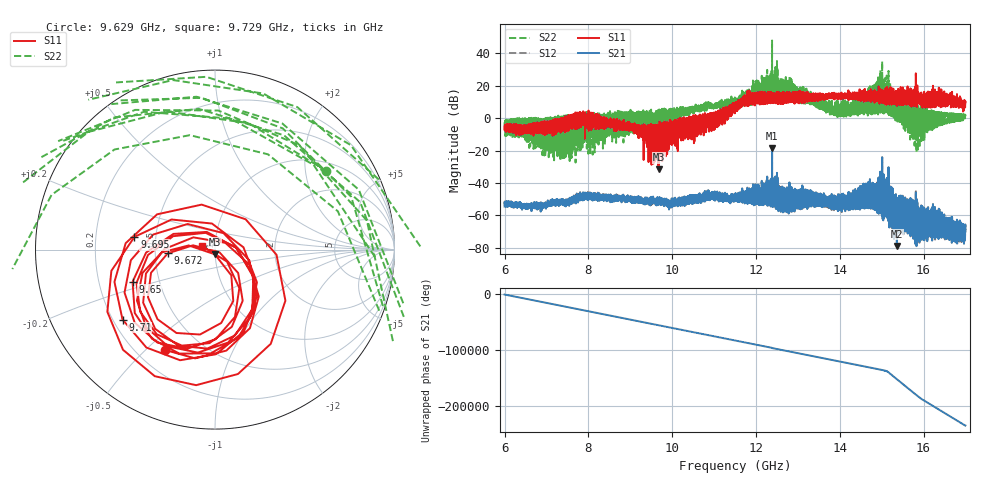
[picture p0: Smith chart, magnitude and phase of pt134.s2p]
#  HZ  S  RI  R  50.00
! Rohde & Schwarz Vector Network Analyzer
! Rohde-Schwarz,ZNA67-2Port,1332450062101215,3.01
! Created: UTC 10/19/2026, 5:56:29 PM
! freq[Hz]  re:S11  im:S11  re:S21  im:S21  re:S12  im:S12  re:S22  im:S22
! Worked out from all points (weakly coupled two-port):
!   11001 points, 6 GHz to 17 GHz, reference 50 ohm
!   highest |S21| = -18.35 dB at 12.38 GHz (marker M1); lowest = -78.8 dB at 15.37 GHz (marker M2)
!   lowest |S11| = -31.7 dB at 9.681 GHz (marker M3), VSWR 1.05, Z = 49.8 - j2.6 ohm
!   |S11| at or under -10 dB: 9.3866 GHz to 9.391355 GHz (4.756 MHz wide, 0.0507 % of centre); 9.398538 GHz to 9.403064 GHz (4.526 MHz wide, 0.0481 % of centre); 9.678869 GHz to 9.683175 GHz (4.306 MHz wide, 0.0445 % of centre) (the widest 3 of 118)
!   |S22| runs from -27.4 to 47.9 dB; largest |S21 - S12| = 0.0034
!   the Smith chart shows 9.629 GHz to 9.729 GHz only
!   S11 on the Smith chart (normalised r, x): 9.629 GHz: 0.31, -0.57; 9.65 GHz: 0.35, -0.17; 9.672 GHz: 0.58, -0.03; 9.695 GHz: 0.38, +0.07; 9.71 GHz: 0.24, -0.32; 9.729 GHz: 0.87, +0.03
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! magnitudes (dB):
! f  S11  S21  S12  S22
! 6 GHz  -5.3  -54.6  -54.1  -2.5
! 6.913 GHz  -8.4  -53.0  -53.0  -22.1
! 7.834 GHz  -3.9  -50.6  -50.4  -14.2
! 9.629 GHz  -4.1  -53.1  -53.2  -2.4
! 9.65 GHz  -6.1  -50.2  -50.3  2.9
! 9.667 GHz  -7.1  -53.1  -53.3  -2.0
! 9.672 GHz  -11.6  -50.0  -50.2  2.8
! 9.681 GHz  -31.7  -51.3  -51.5  3.7
! 9.695 GHz  -6.9  -50.8  -50.9  5.2
! 9.71 GHz  -3.8  -51.7  -52.0  -1.0
! 9.729 GHz  -22.7  -51.1  -51.3  4.5
! 11.04 GHz  4.0  -48.1  -48.0  7.5
! 11.5 GHz  4.1  -49.6  -49.4  9.0
! 12.38 GHz  10.1  -18.3  -18.1  47.9
! 12.72 GHz  13.4  -51.9  -52.1  14.5
! 13.33 GHz  11.6  -52.5  -52.0  10.4
! 13.96 GHz  13.8  -52.4  -52.4  4.3
! 14.68 GHz  11.7  -55.5  -55.4  3.8
! 15.17 GHz  10.7  -60.2  -60.2  3.7
! 15.37 GHz  10.6  -78.8  -78.0  -0.3
! 15.85 GHz  20.1  -51.7  -52.0  4.1
! 17 GHz  9.7  -69.8  -69.2  1.5
